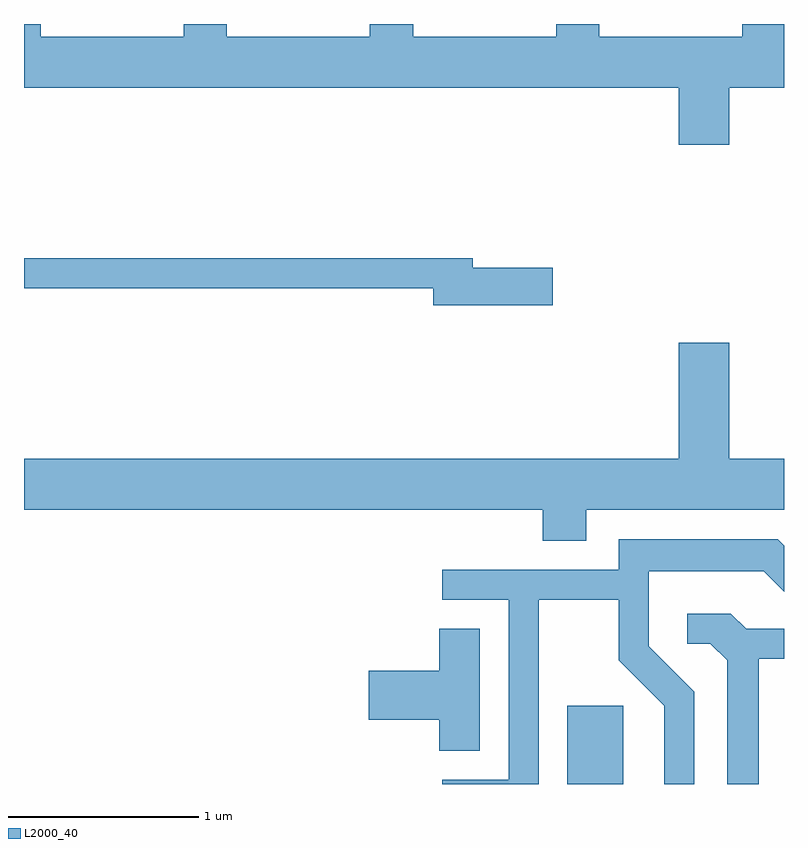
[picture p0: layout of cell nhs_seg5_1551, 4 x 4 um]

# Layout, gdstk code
import gdstk
lib = gdstk.Library(unit=1e-6, precision=1e-09)
def R(c, l, rs):  # rectangles x0, y0, x1, y1
    for r in rs: c.add(gdstk.rectangle(r[:2], r[2:], *l))
def P(c, l, *ps):  # polygons
    for p in ps: c.add(gdstk.Polygon(p, *l))
L2000_40 = (2000, 40)

nhs_seg5_1551 = lib.new_cell('nhs_seg5_1551')
R(nhs_seg5_1551, L2000_40, [(234.471,1402.072,234.764,1402.484)])
P(nhs_seg5_1551, L2000_40, [(235.324,1405.736),(235.611,1405.736),(235.611,1406.072),(235.391,1406.072),(235.391,1406.004),(234.639,1406.004),(234.639,1406.072),(234.411,1406.072),(234.411,1406.004),(233.659,1406.004),(233.659,1406.072),(233.431,1406.072),(233.431,1406.004),(232.679,1406.004),(232.679,1406.072),(232.451,1406.072),(232.451,1406.004),(231.699,1406.004),(231.699,1406.072),(231.611,1406.072),(231.611,1405.736),(235.056,1405.736),(235.056,1405.436),(235.324,1405.436)],
  [(234.394,1404.789),(233.974,1404.789),(233.974,1404.839),(231.611,1404.839),(231.611,1404.681),(233.766,1404.681),(233.766,1404.591),(234.394,1404.591)],
  [(234.569,1403.516),(235.611,1403.516),(235.611,1403.784),(235.324,1403.784),(235.324,1404.394),(235.056,1404.394),(235.056,1403.784),(231.611,1403.784),(231.611,1403.516),(234.341,1403.516),(234.341,1403.351),(234.569,1403.351)],
  [(234.319,1403.041),(234.741,1403.041),(234.741,1402.724),(234.981,1402.484),(234.981,1402.072),(235.139,1402.072),(235.139,1402.557),(234.899,1402.797),(234.899,1403.191),(235.504,1403.191),(235.611,1403.084),(235.611,1403.325),(235.577,1403.359),(234.741,1403.359),(234.741,1403.199),(233.813,1403.199),(233.813,1403.041),(234.161,1403.041),(234.161,1402.094),(233.813,1402.094),(233.813,1402.072),(234.319,1402.072)],
  [(235.479,1402.731),(235.611,1402.731),(235.611,1402.889),(235.412,1402.889),(235.332,1402.969),(235.103,1402.969),(235.103,1402.811),(235.224,1402.811),(235.311,1402.724),(235.311,1402.072),(235.479,1402.072)],
  [(234.009,1402.889),(233.796,1402.889),(233.796,1402.669),(233.426,1402.669),(233.426,1402.411),(233.796,1402.411),(233.796,1402.246),(234.009,1402.246)])

lib.write_gds('nhs_seg5_1551.gds')
